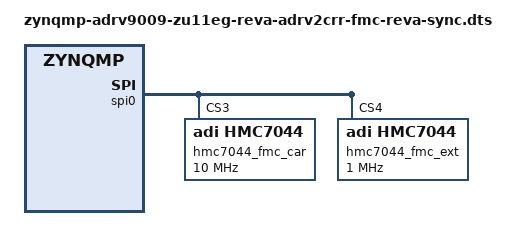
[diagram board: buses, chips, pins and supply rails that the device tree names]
// SPDX-License-Identifier: GPL-2.0
/*
 * ADRV2CRR-FMC using ADRV9009-ZU11EG System on Module
 *
 * https://wiki.analog.com/resources/eval/user-guides/adrv9009
 * https://wiki.analog.com/resources/tools-software/linux-drivers/iio-transceiver/adrv9009
 * https://wiki.analog.com/resources/tools-software/linux-software/adrv9009_advanced_plugin
 * https://wiki.analog.com/resources/eval/user-guides/adrv9009-zu11eg/adrv2crr-fmc_carrier_board
 *
 * hdl_project: <adrv9009zu11eg/adrv2crr_fmc>
 * board_revision: <A>
 *
 * Copyright (C) 2019 Analog Devices Inc.
 */
#include "zynqmp-adrv9009-zu11eg-reva-adrv2crr-fmc-reva.dts"

&spi0 {
	hmc7044_fmc_car: hmc7044-car@3 {
		#address-cells = <1>;
		#size-cells = <0>;
		#clock-cells = <1>;
		compatible = "adi,hmc7044";
		reg = <3>;
		spi-max-frequency = <10000000>;

		adi,pll1-clkin-frequencies = <0 122880000 0 0>;

		adi,pll1-loop-bandwidth-hz = <200>;

		adi,vcxo-frequency = <122880000>;

		adi,pll2-output-frequency = <2949120000>;

		adi,sysref-timer-divider = <3840>;
		adi,pulse-generator-mode = <HMC7044_PULSE_GEN_1_PULSE>;

		adi,oscin-buffer-mode = <0x15>;
//		adi,clkin0-buffer-mode  = <0x09>;
		adi,clkin1-buffer-mode  = <0x09>;
//		adi,clkin0-rf-sync-enable;
		adi,sync-pin-mode = <1>;

		adi,gpi-controls = <0x00 0x00 0x00 0x11>;
		adi,gpo-controls = <0x1f 0x2b 0x00 0x00>;

		clock-output-names =
			"hmc7044_c_out0_REFCLK_OUT0", "hmc7044_c_out1",
			"hmc7044_c_out2_REFCLK_OUT2", "hmc7044_c_out3",
			"hmc7044_c_out4", "hmc7044_c_out5_SYNC_OUT1",
			"hmc7044_c_out6_SYNC_OUT2", "hmc7044_c_out7",
			"hmc7044_c_out8_REFCLK_OUT3","hmc7044_c_out9_REFCLK_OUT4",
			"hmc7044_c_out10_REFCLK_QSFP", "hmc7044_c_out11_REFCLK_SFP",
			"hmc7044_c_out12", "hmc7044_c_out13";


		hmc7044_fmc_car_c2: channel@2 {
			reg = <2>;
			adi,extended-name = "REFCLK_OUT2";
			adi,divider = <24>;	// 12288000
			adi,driver-mode = <HMC7044_DRIVER_MODE_LVPECL>;
		};

		hmc7044_fmc_car_c5: channel@5 {
			reg = <5>;
			adi,extended-name = "SYNC_OUT1";
			adi,divider = <3840>;	// 768000
			adi,driver-mode = <3>;
			adi,startup-mode-dynamic-enable;
			adi,high-performance-mode-disable;
			adi,driver-impedance-mode = <3>;
		};

		hmc7044_fmc_car_c6: channel@6 {
			reg = <6>;
			adi,extended-name = "SYNC_OUT2";
			adi,divider = <3840>;	// 768000
			adi,driver-mode = <3>;
			adi,startup-mode-dynamic-enable;
			adi,high-performance-mode-disable;
			adi,driver-impedance-mode = <3>;

		};

		hmc7044_fmc_car_c8: channel@8 {
			reg = <8>;
			adi,extended-name = "REFCLK_OUT3";
			adi,divider = <24>;	// 12288000
			adi,driver-mode = <HMC7044_DRIVER_MODE_LVPECL>;
		};

		hmc7044_fmc_car_c9: channel@9 {
			reg = <9>;
			adi,extended-name = "REFCLK_OUT4";
			adi,divider = <24>;	// 12288000
			adi,driver-mode = <HMC7044_DRIVER_MODE_LVPECL>;
		};

		hmc7044_fmc_car_c10: channel@10 {
			reg = <10>;
			adi,extended-name = "REFCLK_QSFP";
			adi,divider = <24>;	// 12288000
			adi,driver-mode = <HMC7044_DRIVER_MODE_LVPECL>;
		};

		hmc7044_fmc_car_c11: channel@11 {
			reg = <11>;
			adi,extended-name = "REFCLK_SFP";
			adi,divider = <24>;	// 12288000
			adi,driver-mode = <HMC7044_DRIVER_MODE_LVPECL>;
		};
	};

	hmc7044_fmc_ext: hmc7044-ext@4 {
		#address-cells = <1>;
		#size-cells = <0>;
		#clock-cells = <1>;
		compatible = "adi,hmc7044";
		reg = <4>;
		spi-max-frequency = <1000000>;

		adi,pll1-clkin-frequencies = <0 122880000 0 0>;

		adi,pll1-loop-bandwidth-hz = <200>;

		adi,vcxo-frequency = <122880000>;

		adi,pll2-output-frequency = <2949120000>;

		adi,sysref-timer-divider = <3840>;
		adi,pulse-generator-mode = <HMC7044_PULSE_GEN_1_PULSE>;

		adi,oscin-buffer-mode = <0x15>;
//		adi,clkin0-buffer-mode  = <0x09>;
		adi,clkin1-buffer-mode  = <0x09>;
//		adi,clkin0-rf-sync-enable;
		adi,sync-pin-mode = <1>;

		adi,gpi-controls = <0x00 0x00 0x00 0x00>;
		adi,gpo-controls = <0x1f 0x2b 0x00 0x00>;

		clock-output-names =
			"hmc7044_e_out0_REFCLK_OUT0", "hmc7044_e_out1",
			"hmc7044_e_out2_REFCLK_OUT2", "hmc7044_e_out3",
			"hmc7044_e_out4", "hmc7044_e_out5_SYNC_OUT1",
			"hmc7044_e_out6_SYNC_OUT2", "hmc7044_e_out7",
			"hmc7044_e_out8","hmc7044_e_out9",
			"hmc7044_e_out10", "hmc7044_e_out11_REFCLK_SFP",
			"hmc7044_e_out12", "hmc7044_e_out13";

		hmc7044_fmc_ext_c0: channel@0 {
			reg = <0>;
			adi,extended-name = "REFCLK_OUT0";
			adi,divider = <24>;	// 12288000
			adi,driver-mode = <HMC7044_DRIVER_MODE_LVPECL>;
		};

		hmc7044_fmc_ext_c2: channel@2 {
			reg = <2>;
			adi,extended-name = "REFCLK_OUT2";
			adi,divider = <24>;	// 12288000
			adi,driver-mode = <HMC7044_DRIVER_MODE_LVPECL>;
		};

		hmc7044_fmc_ext_c5: channel@5 {
			reg = <5>;
			adi,extended-name = "SYNC_OUT1";
			adi,divider = <3840>;	// 768000
			adi,driver-mode = <HMC7044_DRIVER_MODE_CMOS>;
			adi,startup-mode-dynamic-enable;
			adi,high-performance-mode-disable;
			adi,driver-impedance-mode = <3>; /* Don't touch */
		};

		hmc7044_fmc_ext_c6: channel@6 {
			reg = <6>;
			adi,extended-name = "SYNC_OUT2";
			adi,divider = <3840>;	// 768000
			adi,driver-mode = <HMC7044_DRIVER_MODE_CMOS>;
			adi,startup-mode-dynamic-enable;
			adi,high-performance-mode-disable;
			adi,driver-impedance-mode = <3>; /* Don't touch */

		};

		hmc7044_fmc_ext_c11: channel@11 {
			reg = <11>;
			adi,extended-name = "REFCLK_SFP";
			adi,divider = <24>;	// 12288000
			adi,driver-mode = <HMC7044_DRIVER_MODE_LVPECL>;
		};
	};
};
